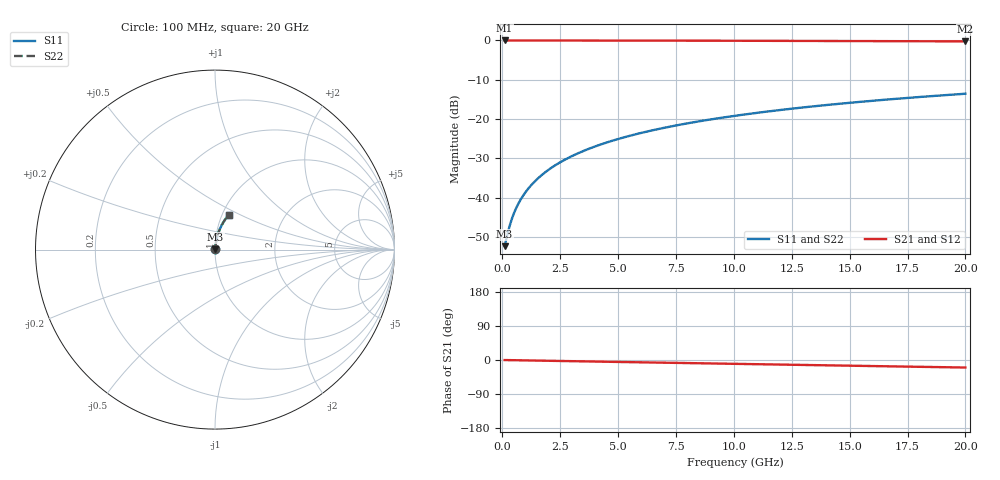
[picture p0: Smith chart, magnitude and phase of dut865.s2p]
! Touchstone file exported from HFSS 2026.1.0
!  File:  C:/ffzhzh/LocalFiles/Ansys_Project_Files/temp_train_BSMRDL_865_1783170817_22436.aedt
!  Generated:  09:14:53 PM Jul  4, 2026
!  Design:  BSMRDL
!  Project:  temp_train_BSMRDL_865_1783170817_22436
! Variables:
!  h_bsmrdl = 2.89um
!  h_ox = 20um
!  h_rdl = 5um
!  h_sub = 80um
!  h_tmrdl = 5um
!  h_tsv = 80um
!  h_via = 3um
!  l_bsmrdl = 252.57um
!  l_sub = 652.57um
!  l_tmrdl = 200um
!  m_sub = 200um
!  pitch = 39.47um
!  r_tsv = 6um
!  s_tmrdl = 10um
!  w_bsmrdl = 16.61um
!  w_sub = 500um
!  w_tmrdl = 12um
!  x_tsv_center1 = 206um
!  x_tsv_center2 = 475.18um
!  x_tsv_center3 = 687.18um
!  x_tsv_center4 = 956.36um
!  x_tsv_center5 = 1168.36um
!  x_tsv_center6 = 1437.54um
# GHz S MA R 50.000000
! Terminal data exported
! Port[1] = BSM_RDL1_1_T1
! Port[2] = BSM_RDL1_1_T2
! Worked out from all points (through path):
!   200 points, 100 MHz to 20 GHz, reference 50 ohm
!   highest |S21| = -0.02 dB at 100 MHz (marker M1); lowest = -0.3 dB at 20 GHz (marker M2)
!   group delay of S21, straight-line fit = 2.76 ps
!   lowest |S11| = -52.4 dB at 100 MHz (marker M3), VSWR 1.00, Z = 50.2 + j0.121 ohm
!   |S11| at or under -10 dB: start of sweep to end of sweep
!   |S22| runs from -52.4 to -13.6 dB; largest |S21 - S12| = 2e-15
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0.1  0.002413 30.0  0.9979 -0.1  0.9979 -0.1  0.002413 30.0
! Gamma 0 0 0 0
! Port Impedance 50 0 50 0
0.3  0.004192 58.2  0.9978 -0.3  0.9978 -0.3  0.004192 58.2
0.4  0.005236 64.1  0.9977 -0.4  0.9977 -0.4  0.005236 64.1
0.5  0.0063 68.0  0.9977 -0.5  0.9977 -0.5  0.006299 68.0
0.6  0.007371 70.7  0.9976 -0.6  0.9976 -0.6  0.007371 70.7
0.8  0.009524 74.3  0.9975 -0.8  0.9975 -0.8  0.009524 74.3
1.1  0.01277 77.4  0.9974 -1.1  0.9974 -1.1  0.01277 77.4
1.3  0.01495 78.7  0.9973 -1.3  0.9973 -1.3  0.01495 78.7
1.6  0.01824 80.1  0.9972 -1.7  0.9972 -1.7  0.01824 80.1
2.1  0.02374 81.3  0.997 -2.2  0.997 -2.2  0.02374 81.3
2.7  0.03035 81.9  0.9968 -2.8  0.9968 -2.8  0.03035 81.9
3.5  0.03918 82.1  0.9963 -3.6  0.9963 -3.6  0.03917 82.1
4.2  0.04688 81.9  0.9958 -4.3  0.9958 -4.3  0.04688 81.9
5  0.05565 81.5  0.9952 -5.1  0.9952 -5.1  0.05565 81.5
5.9  0.06547 80.9  0.9944 -6.0  0.9944 -6.0  0.06547 80.9
6.8  0.07522 80.2  0.9935 -6.9  0.9935 -6.9  0.07522 80.3
8.3  0.09133 79.0  0.9917 -8.4  0.9917 -8.4  0.09133 79.0
10.1  0.1104 77.4  0.9893 -10.2  0.9893 -10.2  0.1104 77.4
11.7  0.1271 75.9  0.9869 -11.8  0.9869 -11.8  0.1271 75.9
13.4  0.1445 74.3  0.9841 -13.5  0.9841 -13.5  0.1445 74.4
16.7  0.1776 71.3  0.9779 -16.7  0.9779 -16.7  0.1776 71.3
20  0.2096 68.3  0.971 -19.9  0.971 -19.9  0.2096 68.3
